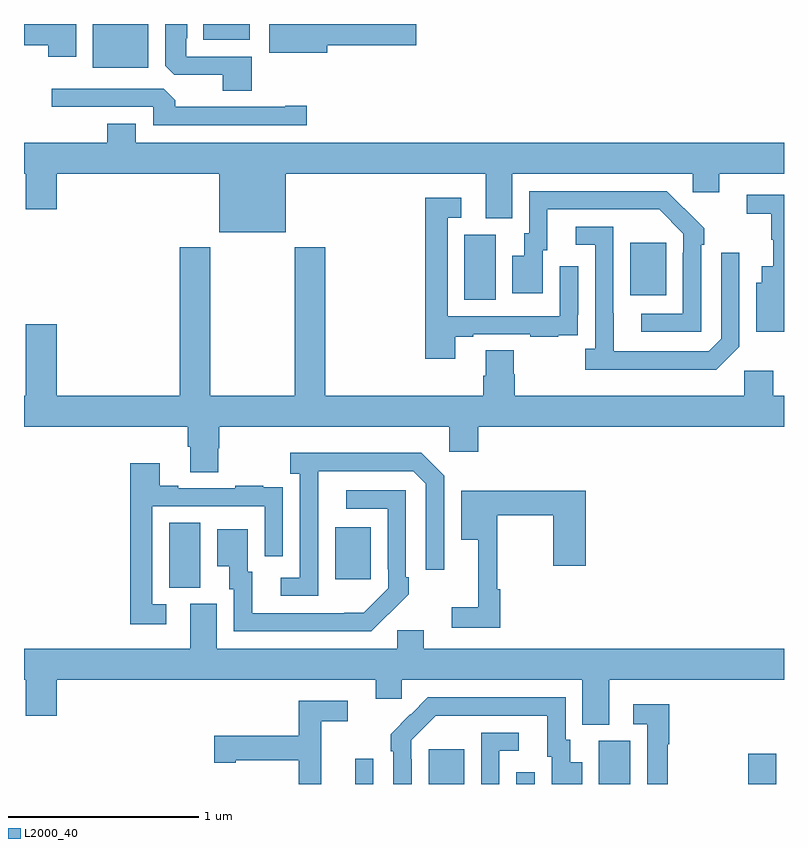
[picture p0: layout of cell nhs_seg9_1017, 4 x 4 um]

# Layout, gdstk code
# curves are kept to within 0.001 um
import gdstk
lib = gdstk.Library(unit=1e-6, precision=1e-09)
def R(c, l, rs):  # rectangles x0, y0, x1, y1
    for r in rs: c.add(gdstk.rectangle(r[:2], r[2:], *l))
def P(c, l, *ps):  # polygons
    for p in ps: c.add(gdstk.Polygon(p, *l))
L2000_40 = (2000, 40)

nhs_seg9_1017 = lib.new_cell('nhs_seg9_1017')
R(nhs_seg9_1017, L2000_40, [(166.743,1234.5,166.839,1234.633), (167.129,1234.5,167.317,1234.684), (167.592,1234.5,167.688,1234.561), (168.026,1234.5,168.19,1234.728), (168.811,1234.5,168.958,1234.659), (165.764,1235.533,165.928,1235.876), (166.637,1235.577,166.825,1235.851), (167.318,1237.048,167.482,1237.392), (168.191,1237.073,168.379,1237.348), (165.362,1238.27,165.655,1238.5), (165.944,1238.417,166.189,1238.5)])
P(nhs_seg9_1017, L2000_40, [(166.597,1238.387),(167.065,1238.387),(167.065,1238.5),(166.29,1238.5),(166.29,1238.348),(166.597,1238.348)],
  [(165.274,1238.5),(165,1238.5),(165,1238.387),(165.128,1238.387),(165.128,1238.328),(165.274,1238.328)],
  [(166.199,1238.328),(165.855,1238.328),(165.855,1238.425),(165.859,1238.425),(165.859,1238.5),(165.743,1238.5),(165.743,1238.281),(165.792,1238.232),(166.046,1238.232),(166.046,1238.149),(166.199,1238.149)],
  [(166.489,1238.069),(166.376,1238.069),(166.376,1238.064),(165.797,1238.064),(165.797,1238.098),(165.735,1238.16),(165.147,1238.16),(165.147,1238.064),(165.681,1238.064),(165.681,1237.968),(166.489,1237.968)],
  [(166.378,1237.712),(167.429,1237.712),(167.429,1237.477),(167.569,1237.477),(167.569,1237.712),(168.519,1237.712),(168.519,1237.614),(168.658,1237.614),(168.658,1237.712),(169,1237.712),(169,1237.876),(165.589,1237.876),(165.589,1237.975),(165.437,1237.975),(165.437,1237.876),(165,1237.876),(165,1237.712),(165.008,1237.712),(165.008,1237.524),(165.172,1237.524),(165.172,1237.712),(166.028,1237.712),(166.028,1237.403),(166.378,1237.403)],
  [(168.564,1237.337),(168.579,1237.337),(168.579,1237.425),(168.382,1237.62),(167.658,1237.62),(167.658,1237.398),(167.633,1237.398),(167.633,1237.279),(167.57,1237.279),(167.57,1237.083),(167.731,1237.083),(167.731,1237.308),(167.755,1237.308),(167.755,1237.524),(168.343,1237.524),(168.471,1237.395),(168.471,1237.295),(168.468,1237.295),(168.468,1236.975),(168.249,1236.975),(168.249,1236.879),(168.564,1236.879)],
  [(169,1237.602),(168.804,1237.602),(168.804,1237.501),(168.933,1237.501),(168.933,1237.365),(168.944,1237.365),(168.944,1237.225),(168.884,1237.225),(168.884,1237.138),(168.854,1237.138),(168.854,1236.881),(169,1236.881)],
  [(167.269,1236.855),(167.365,1236.855),(167.365,1236.867),(167.665,1236.867),(167.665,1236.855),(167.813,1236.855),(167.813,1236.861),(167.915,1236.861),(167.915,1236.97),(167.916,1236.97),(167.916,1237.225),(167.82,1237.225),(167.82,1236.963),(167.229,1236.963),(167.229,1237.479),(167.302,1237.479),(167.302,1237.585),(167.113,1237.585),(167.113,1236.738),(167.269,1236.738)],
  [(168.765,1236.801),(168.765,1237.297),(168.669,1237.297),(168.669,1236.843),(168.603,1236.777),(168.103,1236.777),(168.102,1237.434),(167.904,1237.434),(167.904,1237.338),(168.006,1237.338),(168.006,1236.79),(167.955,1236.79),(167.955,1236.68),(168.644,1236.68)],
  [(166.023,1236.267),(166.028,1236.267),(166.028,1236.38),(167.238,1236.38),(167.238,1236.249),(167.39,1236.249),(167.39,1236.38),(169,1236.38),(169,1236.544),(168.944,1236.544),(168.944,1236.676),(168.792,1236.676),(168.792,1236.544),(167.582,1236.544),(167.582,1236.657),(167.577,1236.657),(167.577,1236.782),(167.429,1236.782),(167.429,1236.65),(167.417,1236.65),(167.417,1236.544),(166.586,1236.544),(166.586,1237.324),(166.426,1237.324),(166.426,1236.544),(165.981,1236.544),(165.981,1237.324),(165.821,1237.324),(165.821,1236.544),(165.172,1236.544),(165.172,1236.919),(165.008,1236.919),(165.008,1236.544),(165,1236.544),(165,1236.38),(165.863,1236.38),(165.863,1236.274),(165.875,1236.274),(165.875,1236.142),(166.023,1236.142)],
  [(166.548,1235.947),(166.549,1236.147),(167.049,1236.147),(167.115,1236.081),(167.115,1235.628),(167.211,1235.628),(167.211,1236.123),(167.09,1236.244),(166.401,1236.244),(166.401,1236.134),(166.452,1236.134),(166.452,1235.586),(166.35,1235.586),(166.35,1235.49),(166.548,1235.49)],
  [(165.748,1235.445),(165.675,1235.445),(165.675,1235.961),(166.266,1235.961),(166.266,1235.7),(166.362,1235.7),(166.362,1235.954),(166.361,1235.954),(166.361,1236.063),(166.259,1236.063),(166.259,1236.07),(166.111,1236.07),(166.111,1236.057),(165.811,1236.057),(165.811,1236.07),(165.715,1236.07),(165.715,1236.187),(165.559,1236.187),(165.559,1235.34),(165.748,1235.34)],
  [(166.919,1235.395),(166.92,1235.394),(167.025,1235.499),(167.025,1235.587),(167.01,1235.587),(167.01,1236.045),(166.695,1236.045),(166.695,1235.949),(166.914,1235.949),(166.914,1235.629),(166.917,1235.629),(166.917,1235.529),(166.789,1235.401),(166.201,1235.4),(166.201,1235.616),(166.177,1235.616),(166.177,1235.842),(166.016,1235.842),(166.016,1235.645),(166.079,1235.645),(166.079,1235.526),(166.104,1235.526),(166.104,1235.304),(166.828,1235.304)],
  [(167.507,1235.525),(167.492,1235.525),(167.492,1235.914),(167.786,1235.914),(167.786,1235.649),(167.957,1235.649),(167.957,1236.043),(167.3,1236.043),(167.3,1235.786),(167.39,1235.786),(167.39,1235.431),(167.25,1235.431),(167.25,1235.322),(167.507,1235.322)],
  [(168.079,1235.048),(169,1235.048),(169,1235.212),(167.104,1235.212),(167.104,1235.31),(166.965,1235.31),(166.965,1235.212),(166.015,1235.212),(166.015,1235.448),(165.875,1235.448),(165.875,1235.212),(165,1235.212),(165,1235.048),(165.008,1235.048),(165.008,1234.86),(165.172,1234.86),(165.172,1235.048),(166.85,1235.048),(166.85,1234.95),(166.989,1234.95),(166.989,1235.048),(167.939,1235.048),(167.939,1234.813),(168.079,1234.813)],
  [(167.04,1234.631),(167.037,1234.631),(167.037,1234.731),(167.166,1234.86),(167.753,1234.86),(167.753,1234.644),(167.777,1234.644),(167.777,1234.5),(167.938,1234.5),(167.938,1234.615),(167.875,1234.615),(167.875,1234.734),(167.85,1234.734),(167.85,1234.956),(167.126,1234.956),(166.929,1234.761),(166.929,1234.673),(166.944,1234.673),(166.944,1234.5),(167.04,1234.5)],
  [(166.565,1234.83),(166.705,1234.83),(166.705,1234.938),(166.447,1234.938),(166.447,1234.755),(166.002,1234.755),(166.002,1234.613),(166.114,1234.613),(166.114,1234.625),(166.447,1234.625),(166.447,1234.5),(166.565,1234.5)],
  [(168.388,1234.708),(168.395,1234.708),(168.395,1234.921),(168.207,1234.921),(168.207,1234.815),(168.279,1234.815),(168.279,1234.5),(168.388,1234.5)],
  [(167.502,1234.674),(167.605,1234.674),(167.605,1234.77),(167.406,1234.77),(167.406,1234.5),(167.502,1234.5)])

lib.write_gds('nhs_seg9_1017.gds')
